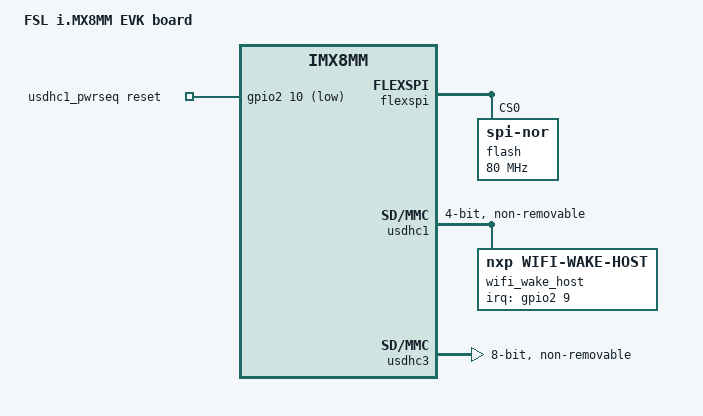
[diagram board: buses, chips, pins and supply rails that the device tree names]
// SPDX-License-Identifier: (GPL-2.0+ OR MIT)
/*
 * Copyright 2019-2020 NXP
 */

/dts-v1/;

#include <dt-bindings/usb/pd.h>
#include "imx8mm-evk.dtsi"

/ {
	model = "FSL i.MX8MM EVK board";
	compatible = "fsl,imx8mm-evk", "fsl,imx8mm";

	aliases {
		spi0 = &flexspi;
	};

	usdhc1_pwrseq: usdhc1_pwrseq {
		compatible = "mmc-pwrseq-simple";
		pinctrl-names = "default";
		pinctrl-0 = <&pinctrl_usdhc1_gpio>;
		reset-gpios = <&gpio2 10 GPIO_ACTIVE_LOW>;
	};
};

&flexspi {
	pinctrl-names = "default";
	pinctrl-0 = <&pinctrl_flexspi>;
	status = "okay";

	flash@0 {
		reg = <0>;
		#address-cells = <1>;
		#size-cells = <1>;
		compatible = "jedec,spi-nor";
		spi-max-frequency = <80000000>;
		spi-tx-bus-width = <1>;
		spi-rx-bus-width = <4>;
	};
};

&usdhc1 {
	pinctrl-names = "default", "state_100mhz", "state_200mhz";
	pinctrl-0 = <&pinctrl_usdhc1>, <&pinctrl_wlan>;
	pinctrl-1 = <&pinctrl_usdhc1_100mhz>, <&pinctrl_wlan>;
	pinctrl-2 = <&pinctrl_usdhc1_200mhz>, <&pinctrl_wlan>;
	bus-width = <4>;
	keep-power-in-suspend;
	non-removable;
	wakeup-source;
	mmc-pwrseq = <&usdhc1_pwrseq>;
	fsl,sdio-async-interrupt-enabled;
	status = "okay";

	wifi_wake_host {
		compatible = "nxp,wifi-wake-host";
		interrupt-parent = <&gpio2>;
		interrupts = <9 IRQ_TYPE_LEVEL_LOW>;
		interrupt-names = "host-wake";
	};
};

&usdhc3 {
	assigned-clocks = <&clk IMX8MM_CLK_USDHC3_ROOT>;
	assigned-clock-rates = <400000000>;
	pinctrl-names = "default", "state_100mhz", "state_200mhz";
	pinctrl-0 = <&pinctrl_usdhc3>;
	pinctrl-1 = <&pinctrl_usdhc3_100mhz>;
	pinctrl-2 = <&pinctrl_usdhc3_200mhz>;
	bus-width = <8>;
	non-removable;
	status = "okay";
};

&iomuxc {
	pinctrl_flexspi: flexspigrp {
		fsl,pins = <
			MX8MM_IOMUXC_NAND_ALE_QSPI_A_SCLK               0x1c2
			MX8MM_IOMUXC_NAND_CE0_B_QSPI_A_SS0_B            0x82
			MX8MM_IOMUXC_NAND_DATA00_QSPI_A_DATA0           0x82
			MX8MM_IOMUXC_NAND_DATA01_QSPI_A_DATA1           0x82
			MX8MM_IOMUXC_NAND_DATA02_QSPI_A_DATA2           0x82
			MX8MM_IOMUXC_NAND_DATA03_QSPI_A_DATA3           0x82
		>;
	};

	pinctrl_usdhc3: usdhc3grp {
		fsl,pins = <
			MX8MM_IOMUXC_NAND_WE_B_USDHC3_CLK               0x190
			MX8MM_IOMUXC_NAND_WP_B_USDHC3_CMD               0x1d0
			MX8MM_IOMUXC_NAND_DATA04_USDHC3_DATA0           0x1d0
			MX8MM_IOMUXC_NAND_DATA05_USDHC3_DATA1           0x1d0
			MX8MM_IOMUXC_NAND_DATA06_USDHC3_DATA2           0x1d0
			MX8MM_IOMUXC_NAND_DATA06_USDHC3_DATA2           0x1d0
			MX8MM_IOMUXC_NAND_DATA07_USDHC3_DATA3           0x1d0
			MX8MM_IOMUXC_NAND_RE_B_USDHC3_DATA4             0x1d0
			MX8MM_IOMUXC_NAND_CE2_B_USDHC3_DATA5            0x1d0
			MX8MM_IOMUXC_NAND_CE3_B_USDHC3_DATA6            0x1d0
			MX8MM_IOMUXC_NAND_CLE_USDHC3_DATA7              0x1d0
			MX8MM_IOMUXC_NAND_CE1_B_USDHC3_STROBE           0x190
		>;
	};

	pinctrl_usdhc3_100mhz: usdhc3-100mhzgrp {
		fsl,pins = <
			MX8MM_IOMUXC_NAND_WE_B_USDHC3_CLK               0x194
			MX8MM_IOMUXC_NAND_WP_B_USDHC3_CMD               0x1d4
			MX8MM_IOMUXC_NAND_DATA04_USDHC3_DATA0           0x1d4
			MX8MM_IOMUXC_NAND_DATA05_USDHC3_DATA1           0x1d4
			MX8MM_IOMUXC_NAND_DATA06_USDHC3_DATA2           0x1d4
			MX8MM_IOMUXC_NAND_DATA07_USDHC3_DATA3           0x1d4
			MX8MM_IOMUXC_NAND_RE_B_USDHC3_DATA4             0x1d4
			MX8MM_IOMUXC_NAND_CE2_B_USDHC3_DATA5            0x1d4
			MX8MM_IOMUXC_NAND_CE3_B_USDHC3_DATA6            0x1d4
			MX8MM_IOMUXC_NAND_CLE_USDHC3_DATA7              0x1d4
			MX8MM_IOMUXC_NAND_CE1_B_USDHC3_STROBE           0x194
		>;
	};

	pinctrl_usdhc3_200mhz: usdhc3-200mhzgrp {
		fsl,pins = <
			MX8MM_IOMUXC_NAND_WE_B_USDHC3_CLK               0x196
			MX8MM_IOMUXC_NAND_WP_B_USDHC3_CMD               0x1d6
			MX8MM_IOMUXC_NAND_DATA04_USDHC3_DATA0           0x1d6
			MX8MM_IOMUXC_NAND_DATA05_USDHC3_DATA1           0x1d6
			MX8MM_IOMUXC_NAND_DATA06_USDHC3_DATA2           0x1d6
			MX8MM_IOMUXC_NAND_DATA07_USDHC3_DATA3           0x1d6
			MX8MM_IOMUXC_NAND_RE_B_USDHC3_DATA4             0x1d6
			MX8MM_IOMUXC_NAND_CE2_B_USDHC3_DATA5            0x1d6
			MX8MM_IOMUXC_NAND_CE3_B_USDHC3_DATA6            0x1d6
			MX8MM_IOMUXC_NAND_CLE_USDHC3_DATA7              0x1d6
			MX8MM_IOMUXC_NAND_CE1_B_USDHC3_STROBE           0x196
		>;
	};

	pinctrl_wlan: wlangrp {
		fsl,pins = <
			MX8MM_IOMUXC_GPIO1_IO00_ANAMIX_REF_CLK_32K	0x141
			MX8MM_IOMUXC_SD1_DATA7_GPIO2_IO9		0x159
		>;
	};
};
